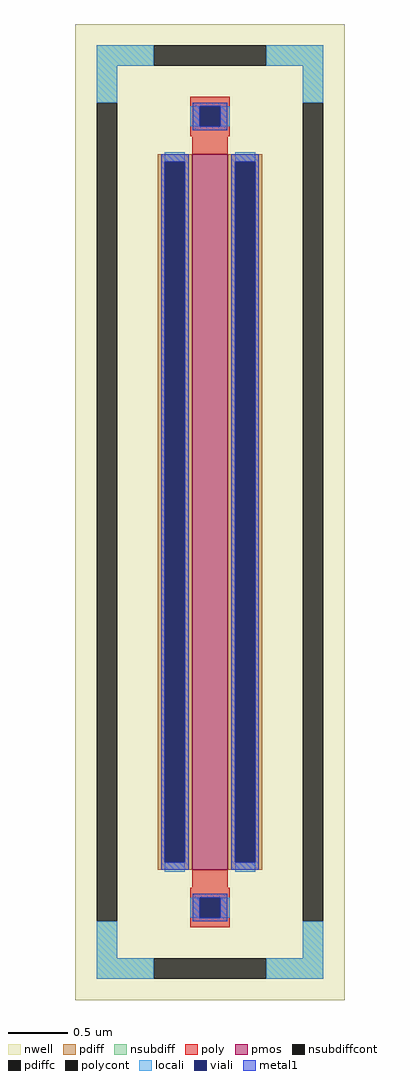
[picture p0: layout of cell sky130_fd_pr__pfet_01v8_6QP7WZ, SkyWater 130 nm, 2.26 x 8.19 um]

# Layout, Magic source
magic
tech sky130A
magscale 1 2
<< nwell >>
rect -226 -819 226 819
<< pmos >>
rect -30 -600 30 600
<< pdiff >>
rect -88 588 -30 600
rect -88 -588 -76 588
rect -42 -588 -30 588
rect -88 -600 -30 -588
rect 30 588 88 600
rect 30 -588 42 588
rect 76 -588 88 588
rect 30 -600 88 -588
<< pdiffc >>
rect -76 -588 -42 588
rect 42 -588 76 588
<< nsubdiff >>
rect -190 749 -94 783
rect 94 749 190 783
rect -190 687 -156 749
rect 156 687 190 749
rect -190 -749 -156 -687
rect 156 -749 190 -687
rect -190 -783 -94 -749
rect 94 -783 190 -749
<< nsubdiffcont >>
rect -94 749 94 783
rect -190 -687 -156 687
rect 156 -687 190 687
rect -94 -783 94 -749
<< poly >>
rect -33 681 33 697
rect -33 647 -17 681
rect 17 647 33 681
rect -33 631 33 647
rect -30 600 30 631
rect -30 -631 30 -600
rect -33 -647 33 -631
rect -33 -681 -17 -647
rect 17 -681 33 -647
rect -33 -697 33 -681
<< polycont >>
rect -17 647 17 681
rect -17 -681 17 -647
<< locali >>
rect -190 749 -94 783
rect 94 749 190 783
rect -190 687 -156 749
rect 156 687 190 749
rect -33 647 -17 681
rect 17 647 33 681
rect -76 588 -42 604
rect -76 -604 -42 -588
rect 42 588 76 604
rect 42 -604 76 -588
rect -33 -681 -17 -647
rect 17 -681 33 -647
rect -190 -749 -156 -687
rect 156 -749 190 -687
rect -190 -783 -94 -749
rect 94 -783 190 -749
<< viali >>
rect -17 647 17 681
rect -76 -588 -42 588
rect 42 -588 76 588
rect -17 -681 17 -647
<< metal1 >>
rect -29 681 29 687
rect -29 647 -17 681
rect 17 647 29 681
rect -29 641 29 647
rect -82 588 -36 600
rect -82 -588 -76 588
rect -42 -588 -36 588
rect -82 -600 -36 -588
rect 36 588 82 600
rect 36 -588 42 588
rect 76 -588 82 588
rect 36 -600 82 -588
rect -29 -647 29 -641
rect -29 -681 -17 -647
rect 17 -681 29 -647
rect -29 -687 29 -681
<< properties >>
string FIXED_BBOX -173 -766 173 766
string gencell sky130_fd_pr__pfet_01v8
string library sky130
string parameters w 6.0 l 0.3 m 1 nf 1 diffcov 100 polycov 100 guard 1 glc 1 grc 1 gtc 1 gbc 1 tbcov 100 rlcov 100 topc 1 botc 1 poverlap 0 doverlap 1 lmin 0.15 wmin 0.42 compatible {sky130_fd_pr__pfet_01v8  sky130_fd_pr__pfet_01v8_lvt sky130_fd_pr__pfet_01v8_hvt  sky130_fd_pr__pfet_g5v0d10v5} full_metal 1 viasrc 100 viadrn 100 viagate 100 viagb 0 viagr 0 viagl 0 viagt 0
<< end >>
